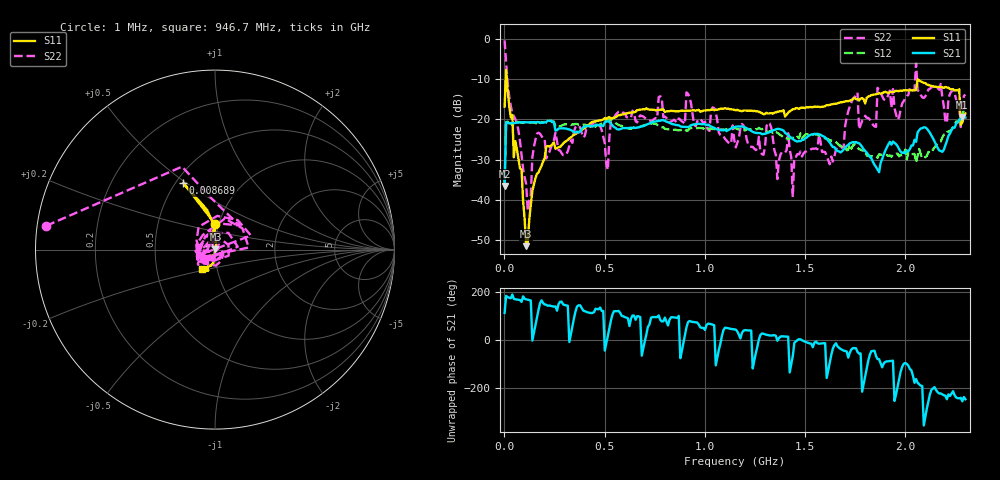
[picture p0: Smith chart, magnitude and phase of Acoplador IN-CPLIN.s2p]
# Hz S DB R 50.000000
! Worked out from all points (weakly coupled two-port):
!   300 points, 1 MHz to 2.3 GHz, reference 50 ohm
!   highest |S21| = -19.43 dB at 2.285 GHz (marker M1); lowest = -36.5 dB at 1 MHz (marker M2)
!   lowest |S11| = -51.5 dB at 108.6 MHz (marker M3), VSWR 1.01, Z = 50.3 + j0.0819 ohm
!   |S11| at or under -10 dB: start of sweep to 6.766 MHz; 12.03 MHz to end of sweep
!   |S22| runs from -42.7 to -0.5 dB; largest |S21 - S12| = 0.18
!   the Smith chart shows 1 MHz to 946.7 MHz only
!   S11 on the Smith chart (normalised r, x): 1 MHz: 0.96, +0.28; 8.689 MHz: 0.55, +0.49; 946.7 MHz: 0.85, -0.18
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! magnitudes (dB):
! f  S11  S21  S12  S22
! 1 MHz  -16.9  -36.5  -35.6  -0.5
! 8.689 MHz  -7.7  -20.7  -20.3  -6.1
! 47.13 MHz  -29.4  -21.0  -20.8  -19.3
! 85.58 MHz  -32.5  -20.7  -20.9  -28.7
! 108.6 MHz  -51.5  -20.8  -20.9  -36.1
! 162.5 MHz  -33.5  -20.7  -21.1  -23.6
! 208.6 MHz  -26.8  -20.7  -20.8  -29.7
! 385.4 MHz  -22.7  -22.4  -21.5  -23.4
! 516.2 MHz  -19.6  -20.5  -20.1  -32.6
! 539.2 MHz  -19.7  -21.6  -20.2  -19.8
! 769.9 MHz  -17.7  -20.4  -21.8  -14.5
! 946.7 MHz  -17.8  -21.2  -22.2  -21.3
! 1.154 GHz  -17.8  -21.8  -22.3  -27.0
! 1.324 GHz  -18.5  -23.2  -23.0  -21.1
! 1.362 GHz  -18.1  -22.4  -23.3  -34.8
! 1.416 GHz  -18.4  -23.9  -24.9  -23.4
! 1.439 GHz  -17.5  -24.9  -24.6  -39.3
! 1.447 GHz  -17.4  -25.2  -24.6  -29.4
! 1.539 GHz  -17.0  -23.7  -23.8  -27.3
! 1.923 GHz  -13.3  -25.6  -28.9  -12.9
! 2.285 GHz  -20.7  -19.4  -18.8  -17.7
! 2.3 GHz  -18.6  -19.6  -16.8  -13.9
